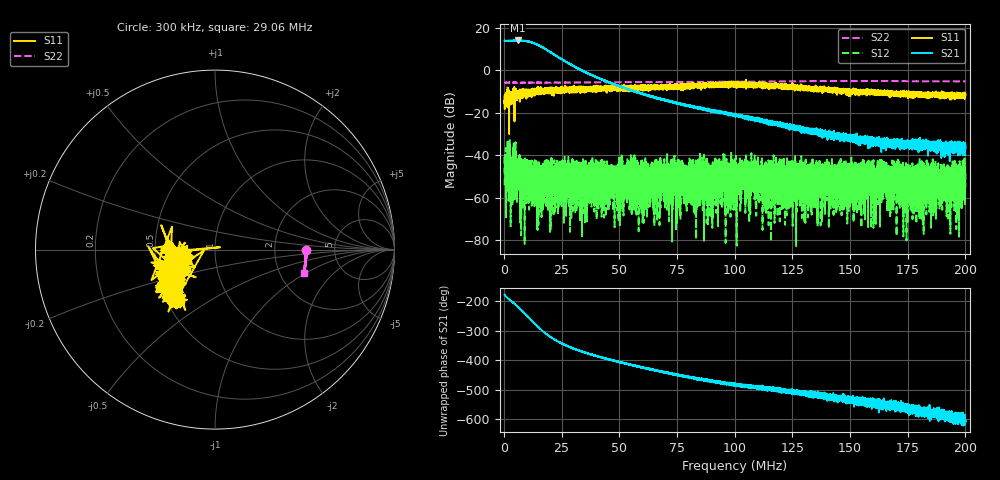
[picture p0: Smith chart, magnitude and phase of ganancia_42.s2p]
# Hz S DB R 50
! CMT, M5065, 19127446, 24.2.4/2
! Date: 11/8/2024 5:17:45 PM
! Data: Format (Calibration Info)
! Freq	S11:dB/Ang(F2)	S21:dB/Ang(F2)	S12:dB/Ang(F2)	S22:dB/Ang(F2)
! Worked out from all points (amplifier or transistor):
!   9000 points, 300 kHz to 200 MHz, reference 50 ohm
!   highest |S21| = 14.0 dB at 6.003 MHz (marker M1)
!   |S21| within 3 dB of that: start of sweep to 16.32 MHz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
!   unconditionally stable (mu >= 1): start of sweep to end of sweep
!   at 33.59 MHz: K = 91.03, MAG = 2.2 dB, |S12| = -49.5 dB
!   at 100.2 MHz: K = 838.43, MAG = -18.4 dB, |S12| = -49.0 dB
!   at 200 MHz: K = 11648.11, MAG = -34.4 dB, |S12| = -54.8 dB
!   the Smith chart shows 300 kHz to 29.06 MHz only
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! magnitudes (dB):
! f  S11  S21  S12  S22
! 300 kHz  -14.3  13.8  -54.1  -5.9
! 1.964 MHz  -11.1  13.8  -43.9  -5.9
! 6.003 MHz  -10.6  14.0  -42.9  -5.9
! 12.68 MHz  -10.2  12.8  -48.6  -5.8
! 17.85 MHz  -10.3  10.0  -51.4  -5.9
! 19.92 MHz  -9.2  8.6  -51.3  -5.8
! 24.93 MHz  -10.0  5.1  -46.0  -5.8
! 33.59 MHz  -7.7  0.0  -49.5  -5.8
! 66.87 MHz  -8.7  -13.2  -48.7  -5.5
! 100.2 MHz  -5.5  -21.3  -49.0  -5.4
! 103.9 MHz  -6.7  -22.1  -55.1  -5.4
! 133.4 MHz  -8.9  -29.7  -53.3  -5.2
! 138.2 MHz  -9.4  -29.9  -49.1  -5.1
! 139.8 MHz  -9.3  -29.5  -49.3  -5.1
! 143.9 MHz  -9.3  -31.5  -60.3  -5.1
! 150.5 MHz  -9.5  -31.9  -47.4  -5.1
! 155.5 MHz  -10.0  -34.1  -50.7  -5.1
! 166.7 MHz  -10.4  -35.0  -52.9  -5.1
! 170 MHz  -10.9  -36.2  -50.2  -5.1
! 174 MHz  -11.1  -35.8  -51.0  -5.2
! 188.7 MHz  -12.0  -35.9  -49.3  -5.2
! 200 MHz  -11.5  -36.2  -54.8  -5.3
